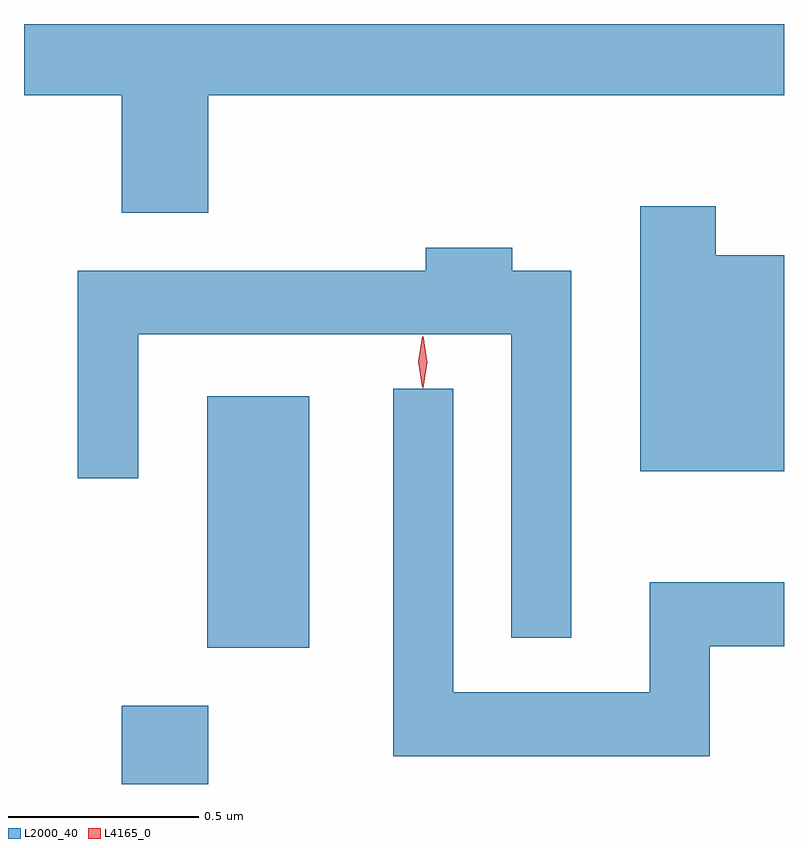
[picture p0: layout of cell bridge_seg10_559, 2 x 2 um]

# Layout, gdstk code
import gdstk
lib = gdstk.Library(unit=1e-6, precision=1e-09)
def R(c, l, rs):  # rectangles x0, y0, x1, y1
    for r in rs: c.add(gdstk.rectangle(r[:2], r[2:], *l))
def P(c, l, *ps):  # polygons
    for p in ps: c.add(gdstk.Polygon(p, *l))
L2000_40 = (2000, 40)
L4165_0 = (4165, 0)

bridge_seg10_559 = lib.new_cell('bridge_seg10_559')
R(bridge_seg10_559, L2000_40, [(774.481,2167.603,774.709,2167.809), (774.706,2167.961,774.974,2168.624)])
P(bridge_seg10_559, L2000_40, [(774.709,2169.416),(776.224,2169.416),(776.224,2169.603),(774.224,2169.603),(774.224,2169.416),(774.481,2169.416),(774.481,2169.106),(774.709,2169.106)],
  [(776.224,2168.994),(776.044,2168.994),(776.044,2169.124),(775.846,2169.124),(775.846,2168.426),(776.224,2168.426)],
  [(775.664,2168.954),(775.509,2168.954),(775.509,2169.014),(775.281,2169.014),(775.281,2168.954),(774.366,2168.954),(774.366,2168.408),(774.524,2168.408),(774.524,2168.786),(775.506,2168.786),(775.506,2167.988),(775.664,2167.988)],
  [(776.029,2167.966),(776.224,2167.966),(776.224,2168.134),(775.871,2168.134),(775.871,2167.844),(775.354,2167.844),(775.354,2168.643),(775.196,2168.643),(775.196,2167.676),(776.029,2167.676)])
P(bridge_seg10_559, L4165_0, [(775.274,2168.644),(775.265,2168.713),(775.274,2168.782),(775.275,2168.783),(775.275,2168.782),(775.285,2168.713),(775.275,2168.644),(775.275,2168.644)],
  [(775.272,2168.647),(775.272,2168.647),(775.262,2168.714),(775.272,2168.78),(775.272,2168.78),(775.273,2168.78),(775.282,2168.714),(775.273,2168.647)])

lib.write_gds('bridge_seg10_559.gds')
